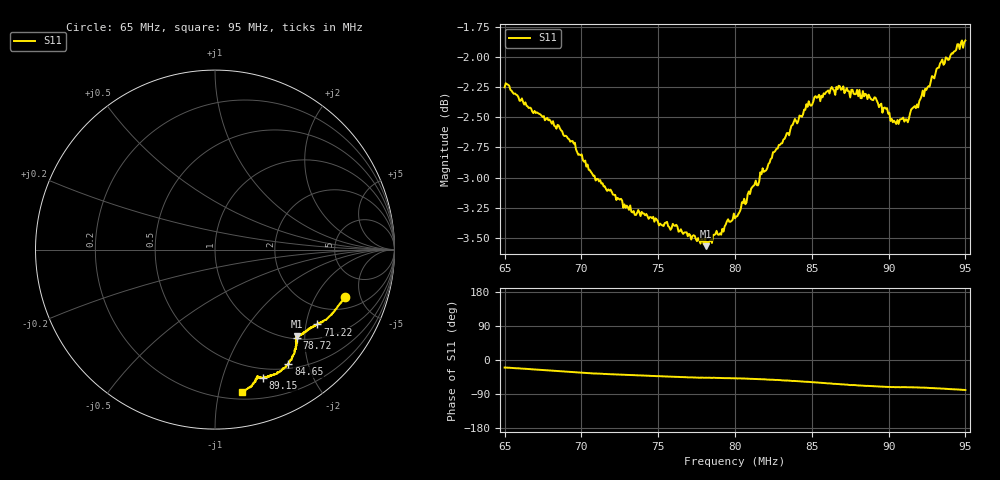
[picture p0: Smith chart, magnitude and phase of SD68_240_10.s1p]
! NanoVNA-App
! Date: 2025-08-09 13:41:52
! Start: 65MHz Stop: 95MHz Points: 401
! S-Parameter data: F S11
# Hz S RI R 50
!  Frequency  S11_Real  S11_Imag
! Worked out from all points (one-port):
!   401 points, 65 MHz to 95 MHz, reference 50 ohm
!   lowest |S11| = -3.6 dB at 78.12 MHz (marker M1), VSWR 4.94, Z = 52.7 - j90.9 ohm
!   |S11| at or under -10 dB: nowhere
!   S11 on the Smith chart (normalised r, x): 65 MHz: 2.80, -3.64; 71.22 MHz: 1.40, -2.32; 78.72 MHz: 1.02, -1.83; 84.65 MHz: 0.56, -1.69; 89.15 MHz: 0.40, -1.36; 95 MHz: 0.26, -1.18
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6.5e7  0.7253 -0.2632
6.5225e7  0.7259 -0.2671
6.875e7  0.641 -0.3695
6.9425e7  0.6207 -0.39
7.0775e7  0.5778 -0.4111
7.1225e7  0.57 -0.417
7.25e7  0.542 -0.4323
7.34e7  0.5263 -0.4397
7.625e7  0.4816 -0.474
7.76e7  0.4613 -0.4836
7.8125e7  0.4541 -0.4834
7.8725e7  0.4559 -0.4923
8e7  0.4535 -0.5081
8.18e7  0.451 -0.554
8.285e7  0.4401 -0.5829
8.375e7  0.4221 -0.6132
8.465e7  0.4092 -0.6395
8.6225e7  0.3631 -0.6794
8.645e7  0.3479 -0.6861
8.75e7  0.308 -0.6993
8.7725e7  0.3115 -0.7008
8.915e7  0.2655 -0.7164
8.99e7  0.2458 -0.7154
9.035e7  0.2387 -0.7083
9.125e7  0.233 -0.709
9.245e7  0.223 -0.7365
9.335e7  0.2028 -0.7628
9.5e7  0.1521 -0.7922
